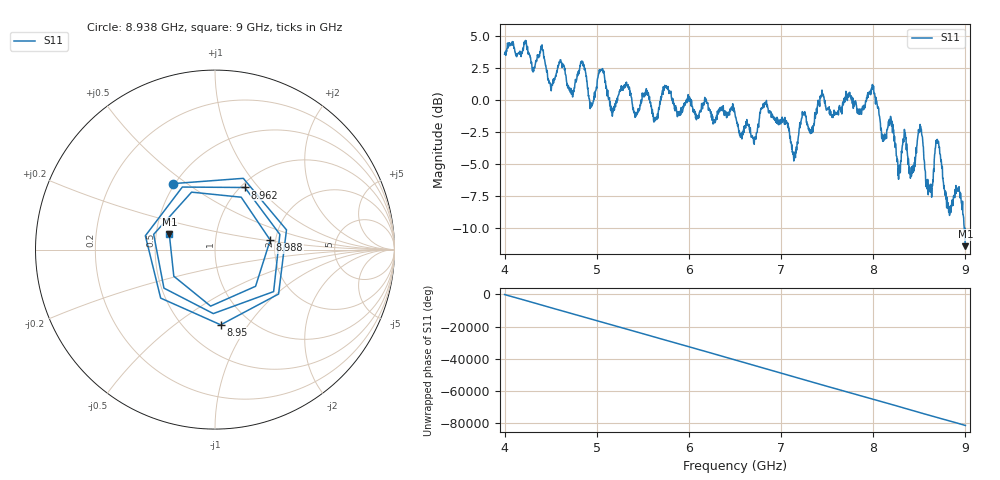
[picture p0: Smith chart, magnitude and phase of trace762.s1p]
! Created with skrf 1.8.0 (http://scikit-rf.org).
# Hz S RI R 50.0
!freq ReS11 ImS11
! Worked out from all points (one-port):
!   1601 points, 4 GHz to 9 GHz, reference 50 ohm
!   lowest |S11| = -11.4 dB at 9 GHz (marker M1), VSWR 1.73, Z = 29.4 + j5.33 ohm
!   |S11| at or under -10 dB: 8.986846 GHz to end of sweep
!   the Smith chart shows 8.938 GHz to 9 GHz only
!   S11 on the Smith chart (normalised r, x): 8.938 GHz: 0.49, +0.44; 8.95 GHz: 0.74, -0.75; 8.962 GHz: 1.05, +0.85; 8.988 GHz: 1.87, +0.22; 9 GHz: 0.59, +0.11
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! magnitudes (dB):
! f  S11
! 4 GHz  3.6
! 4.625 GHz  2.5
! 4.728 GHz  0.5
! 4.85 GHz  2.9
! 4.941 GHz  -0.6
! 5.05 GHz  2.4
! 5.166 GHz  -0.7
! 5.25 GHz  0.6
! 5.875 GHz  -1.3
! 6.5 GHz  -1.1
! 6.703 GHz  -3.4
! 6.831 GHz  -0.3
! 7.125 GHz  -4.0
! 7.441 GHz  0.4
! 7.75 GHz  0.2
! 7.994 GHz  1.1
! 8.275 GHz  -6.2
! 8.375 GHz  -4.5
! 8.425 GHz  -5.7
! 8.512 GHz  -2.1
! 8.619 GHz  -7.1
! 8.697 GHz  -3.1
! 8.819 GHz  -8.8
! 8.938 GHz  -7.2
! 8.95 GHz  -7.5
! 8.962 GHz  -8.3
! 8.988 GHz  -10.1
! 9 GHz  -11.4
